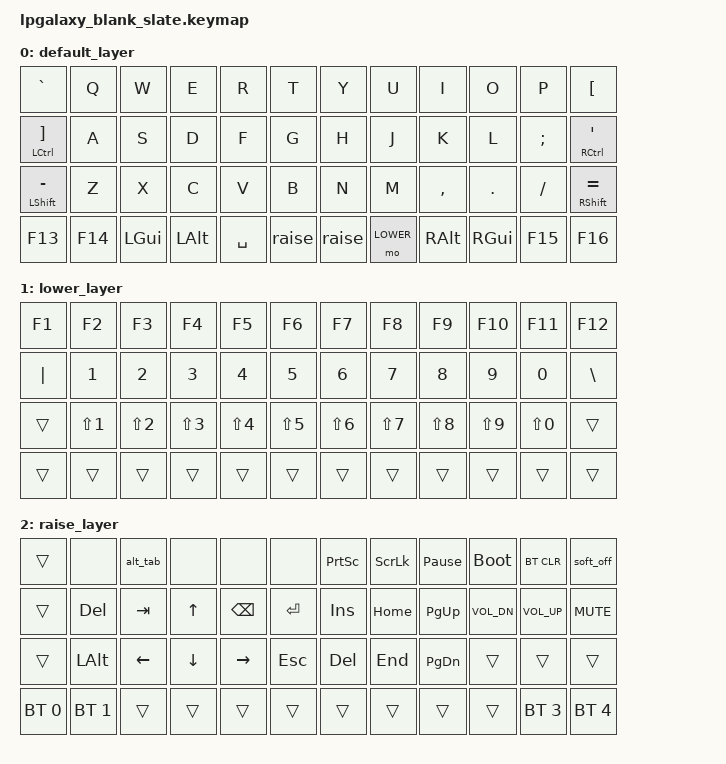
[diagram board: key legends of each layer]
#include <behaviors.dtsi>
#include <dt-bindings/zmk/keys.h>
#include <dt-bindings/zmk/bt.h>
#include <dt-bindings/zmk/outputs.h>

#define TBLE_ORTHO   1
// #define TBLE_MIT     1
// #define TBLE_DUAL_2U 1

#define DEFAULT 0
#define LOWER   1
#define RAISE   2

&mt {
    tapping-term-ms = <140>;
};

&soft_off {
    hold-time-ms = <1000>;
};

/ {
    chosen {
       zmk,matrix_transform = &ortho_transform;
    };
};

/ {
	macros {
		raise: raise {
			label = "RAISE";
			compatible = "zmk,behavior-macro";
			#binding-cells = <0>;
			bindings = <&macro_press &mo RAISE>
			 , <&macro_pause_for_release>
			 , <&macro_release &mo RAISE>
			 , <&macro_release &kp LALT>
			 , <&macro_release &kp LALT>
			 , <&macro_release &kp LALT>
			 , <&macro_release &kp LALT>
			 , <&macro_release &kp LALT>
			 , <&macro_release &kp LALT>
			 , <&macro_release &kp LALT>
			 , <&macro_release &kp LALT>
			 , <&macro_release &kp LALT>
			 , <&macro_release &kp LALT>
			 , <&macro_release &kp LALT>
			 , <&macro_release &kp LALT>
			 , <&macro_release &kp LALT>
			 , <&macro_release &kp LALT>
			 , <&macro_release &kp LALT>
			 , <&macro_release &kp LALT>
			 , <&macro_release &kp LALT>
			 , <&macro_release &kp LALT>
			 , <&macro_release &kp LALT>
			 , <&macro_release &kp LALT>
			 , <&macro_release &kp LALT>
			 , <&macro_release &kp LALT>
			 , <&macro_release &kp LALT>
			 , <&macro_release &kp LALT>
			 , <&macro_release &kp LALT>
			 , <&macro_release &kp LALT>
			 , <&macro_release &kp LALT>
			 , <&macro_release &kp LALT>
			 , <&macro_release &kp LALT>
			 , <&macro_release &kp LALT>
			 , <&macro_release &kp LALT>
			 , <&macro_release &kp LALT>
			 , <&macro_release &kp LALT>
			 , <&macro_release &kp LALT>
			 , <&macro_release &kp LALT>
			 , <&macro_release &kp LALT>
			 , <&macro_release &kp LALT>
			 , <&macro_release &kp LALT>
			 , <&macro_release &kp LALT>
			 , <&macro_release &kp LALT>
			 , <&macro_release &kp LALT>
			 , <&macro_release &kp LALT>
			 , <&macro_release &kp LALT>
			 , <&macro_release &kp LALT>
			 , <&macro_release &kp LALT>
			 , <&macro_release &kp LALT>
			 , <&macro_release &kp LALT>
			 , <&macro_release &kp LALT>
			 , <&macro_release &kp LALT>
			 , <&macro_release &kp LALT>
			 , <&macro_release &kp LALT>
			 , <&macro_release &kp LALT>
			 , <&macro_release &kp LALT>
			 , <&macro_release &kp LALT>
			 , <&macro_release &kp LALT>
			 ;
		};
		alt_tab: alt_tab {
			label = "Alt Tab";
			compatible = "zmk,behavior-macro";
			#binding-cells = <0>;
			bindings
			 = <&macro_press &kp LALT>
			 , <&macro_tap &kp TAB>
			 ;
		};
	};
};

/ {
	keymap {
		compatible = "zmk,keymap";

		default_layer {
			bindings = <
				&kp GRAVE 			&kp Q    &kp W    &kp E     &kp R     &kp T  &kp Y  &kp U     &kp I     &kp O    &kp P    &kp LBKT
				&mt LCTRL RBKT	&kp A    &kp S    &kp D     &kp F     &kp G  &kp H  &kp J     &kp K     &kp L    &kp SEMI &mt RCTRL APOS
				&mt LSHFT MINUS	&kp Z    &kp X    &kp C     &kp V     &kp B  &kp N  &kp M     &kp COMMA &kp DOT  &kp FSLH &mt RSHFT EQUAL
				&kp F13    			&kp F14	 &kp LGUI &kp LALT  &kp SPACE &raise &raise &mo LOWER &kp RALT  &kp RGUI &kp F15  &kp F16
			>;
		};

		lower_layer {
			bindings = <
				&kp F1		&kp F2   		&kp F3   		&kp F4    	&kp F5    	&kp F6  		&kp F7    	&kp F8    	&kp F9    	&kp F10  		&kp F11  		&kp F12
				&kp PIPE	&kp N1   		&kp N2  		&kp N3   		&kp N4    	&kp N5			&kp N6    	&kp N7    	&kp N8    	&kp N9    	&kp N0   		&kp BSLH
				&trans 		&kp LS(N1)	&kp LS(N2)	&kp LS(N3)	&kp LS(N4)	&kp LS(N5)	&kp LS(N6)	&kp LS(N7)	&kp LS(N8)	&kp LS(N9)	&kp LS(N0)	&trans
				&trans		&trans			&trans			&trans			&trans			&trans			&trans			&trans			&trans			&trans			&trans			&trans
			>;
		};

		raise_layer {
			bindings = <
				&trans				&none   			&alt_tab  &none    	&none    	&none    	&kp PSCRN	&kp SLCK  &kp PAUSE_BREAK	&bootloader  	&bt BT_CLR		&soft_off
				&trans				&kp DEL   		&kp TAB  	&kp UP   	&kp BSPC  &kp RET   &kp INS   &kp HOME  &kp PG_UP   		&kp C_VOL_DN	&kp C_VOL_UP	&kp C_MUTE
				&trans				&kp LALT			&kp LEFT	&kp DOWN	&kp RIGHT	&kp ESC		&kp DEL		&kp END		&kp PG_DN				&trans				&trans				&trans
				&bt BT_SEL 0	&bt BT_SEL 1	&trans		&trans		&trans		&trans		&trans		&trans		&trans					&trans				&bt BT_SEL 3	&bt BT_SEL 4
			>;
		};
	};
};
